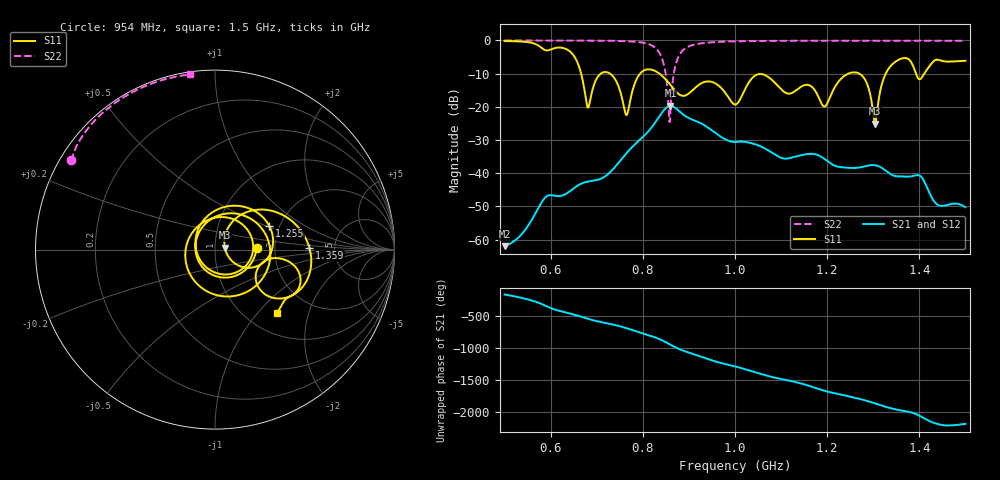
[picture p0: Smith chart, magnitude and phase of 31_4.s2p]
! TOUCHSTONE file generated by CST MICROWAVE STUDIO
! Date and time: Sat Nov 14 20:02:36 2020
! Project name: Scenario_1_Planar_Body_Tissue_Out_of_Line.cst
! Parameters = {dy1=-173; L_HA=400; Ltissue=700; MT=2.54; Rad_Dielectric=30; Rad_Lower=7.3; Rad_Upper=30; Wtissue=700; a_HA=580; a_WG=246; b_HA=500; b_WG=121; c_HA=0; c_WG=187; d_feed=85; dx1=693; h_feed=15; h_lower=18; h_upper=40; hfat=3; hgap=25; hmuscle=50; hskin=1.5}
! Header version: 2018
! Port assignment regex: !\s*Touchstone port\s*([0-9]+)\s*=\s*(CST MWS port|CST DS port)\s*([0-9]+|Zmin|Zmax)\s*\(\"(.*)\"\)(\s*mode\s*([0-9]+))?.*
! Touchstone port assignment:
! Touchstone port 1 = CST MWS port 1 ("")
! Touchstone port 2 = CST MWS port 2 ("")
# GHz S DB R 50
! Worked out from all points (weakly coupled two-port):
!   1003 points, 500 MHz to 1.5 GHz, reference 50 ohm
!   highest |S21| = -19.69 dB at 860 MHz (marker M1); lowest = -62.0 dB at 500 MHz (marker M2)
!   lowest |S11| = -25.1 dB at 1.304 GHz (marker M3), VSWR 1.12, Z = 55.8 + j1.29 ohm
!   |S11| at or under -10 dB: 728.9 MHz to 794 MHz (65.1 MHz wide, 8.55 % of centre); 835.9 MHz to 1.246 GHz (409.9 MHz wide, 39.4 % of centre); 1.27 GHz to 1.327 GHz (57.17 MHz wide, 4.4 % of centre)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
!   |S22| runs from -24.6 to 0.0 dB; largest |S21 - S12| = 6e-06
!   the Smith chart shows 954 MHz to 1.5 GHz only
!   S11 on the Smith chart (normalised r, x): 954 MHz: 1.60, +0.03; 1.255 GHz: 1.77, +0.52; 1.359 GHz: 3.22, +0.09; 1.5 GHz: 1.35, -1.27
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0.5  -0.19 -121.6  -61.96 -175.1  -61.96 -175.1  -0.01 151.2
0.621  -2.16 173.8  -46.84 -71.5  -46.84 -71.5  -0.02 142.5
0.667  -10.53 106.1  -43.10 -160.9  -43.10 -160.9  -0.04 138.4
0.681  -20.22 145.4  -42.50 168.8  -42.50 168.8  -0.05 137.0
0.73  -10.11 122.0  -39.56 88.8  -39.56 88.8  -0.11 130.9
0.764  -22.49 -24.5  -34.02 25.6  -34.02 25.6  -0.23 124.6
0.798  -9.44 161.5  -29.36 -51.5  -29.36 -51.5  -0.63 113.6
0.834  -9.81 62.1  -23.27 -138.5  -23.27 -138.5  -3.33 84.3
0.86  -13.42 -15.6  -19.69 127.7  -19.69 127.7  -21.16 -98.5
0.883  -16.57 -99.2  -21.80 49.2  -21.80 49.2  -3.60 -175.6
0.954  -12.71 2.4  -27.54 -123.2  -27.54 -123.2  -0.52 148.2
1  -19.31 -166.7  -30.58 153.5  -30.58 153.5  -0.26 140.2
1.051  -10.16 -6.9  -31.63 47.4  -31.63 47.4  -0.17 134.3
1.104  -15.19 -160.8  -35.50 -47.1  -35.50 -47.1  -0.12 129.4
1.167  -13.99 -21.1  -34.13 -162.6  -34.13 -162.6  -0.09 124.2
1.195  -19.92 -160.5  -35.77 134.2  -35.77 134.2  -0.09 122.0
1.255  -9.63 23.5  -38.42 36.3  -38.42 36.3  -0.08 117.5
1.304  -25.06 11.9  -37.57 -59.6  -37.57 -59.6  -0.09 113.8
1.334  -8.38 34.6  -39.91 -126.2  -39.91 -126.2  -0.09 111.5
1.359  -5.58 1.1  -40.94 -166.7  -40.94 -166.7  -0.09 109.6
1.401  -11.69 -23.6  -40.73 107.0  -40.73 107.0  -0.09 106.3
1.5  -6.12 -46.0  -50.25 -16.3  -50.25 -16.3  -0.13 98.0
